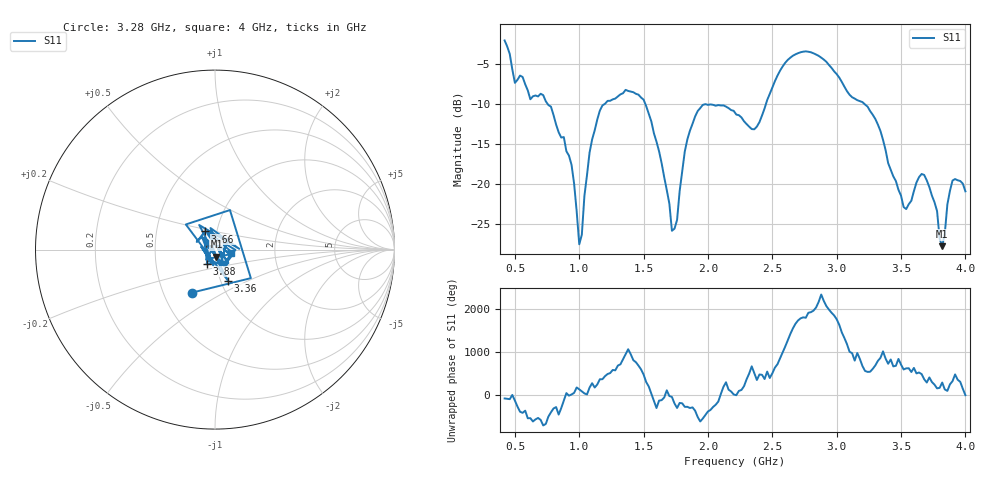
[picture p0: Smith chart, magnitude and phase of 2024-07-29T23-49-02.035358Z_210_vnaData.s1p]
!Created with skrf (http://scikit-rf.org).
# Hz S RI R 50.0
!freq ReS11 ImS11
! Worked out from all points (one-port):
!   180 points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, 420 MHz to 4 GHz, reference 50 ohm
!   lowest |S11| = -27.8 dB at 3.82 GHz (marker M1), VSWR 1.09, Z = 50.7 - j4.07 ohm
!   |S11| at or under -10 dB: 754.7 MHz to 1.197 GHz (442.5 MHz wide, 45.3 % of centre); 1.513 GHz to 2.45 GHz (936.9 MHz wide, 47.3 % of centre); 3.216 GHz to end of sweep
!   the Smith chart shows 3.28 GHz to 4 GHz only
!   S11 on the Smith chart (normalised r, x): 3.28 GHz: 0.70, -0.36; 3.36 GHz: 1.08, -0.39; 3.66 GHz: 0.88, +0.18; 3.88 GHz: 0.90, -0.14; 4 GHz: 1.19, -0.05
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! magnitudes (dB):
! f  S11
! 420 MHz  -2.1
! 500 MHz  -7.4
! 720 MHz  -8.9
! 880 MHz  -14.1
! 940 MHz  -17.6
! 1 GHz  -27.5
! 1.08 GHz  -16.1
! 1.14 GHz  -11.9
! 1.32 GHz  -8.8
! 1.52 GHz  -10.3
! 1.64 GHz  -17.4
! 1.72 GHz  -25.8
! 1.78 GHz  -20.9
! 1.84 GHz  -14.4
! 1.92 GHz  -10.9
! 2.22 GHz  -11.3
! 2.36 GHz  -13.2
! 2.66 GHz  -4.0
! 2.88 GHz  -4.2
! 3.12 GHz  -9.2
! 3.28 GHz  -11.3
! 3.36 GHz  -14.5
! 3.56 GHz  -22.5
! 3.66 GHz  -18.7
! 3.78 GHz  -23.4
! 3.82 GHz  -27.8
! 3.88 GHz  -20.8
! 4 GHz  -20.9
